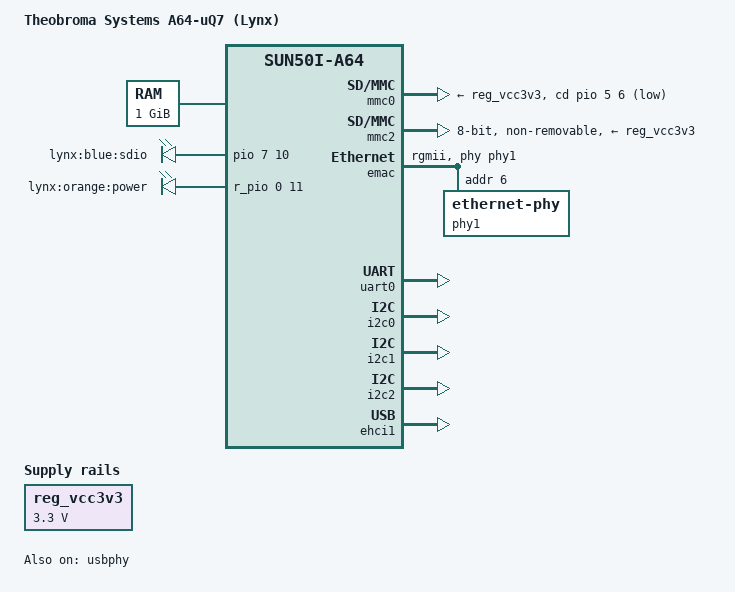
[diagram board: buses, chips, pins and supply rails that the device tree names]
/*
 * Copyright (c) 2016 ARM Ltd.
 * Copyright (c) 2016-2017, Theobroma Systems Design und Consulting GmbH
 *
 * This file is dual-licensed: you can use it either under the terms
 * of the GPL or the X11 license, at your option. Note that this dual
 * licensing only applies to this file, and not this project as a
 * whole.
 *
 *  a) This library is free software; you can redistribute it and/or
 *     modify it under the terms of the GNU General Public License as
 *     published by the Free Software Foundation; either version 2 of the
 *     License, or (at your option) any later version.
 *
 *     This library is distributed in the hope that it will be useful,
 *     but WITHOUT ANY WARRANTY; without even the implied warranty of
 *     MERCHANTABILITY or FITNESS FOR A PARTICULAR PURPOSE.  See the
 *     GNU General Public License for more details.
 *
 * Or, alternatively,
 *
 *  b) Permission is hereby granted, free of charge, to any person
 *     obtaining a copy of this software and associated documentation
 *     files (the "Software"), to deal in the Software without
 *     restriction, including without limitation the rights to use,
 *     copy, modify, merge, publish, distribute, sublicense, and/or
 *     sell copies of the Software, and to permit persons to whom the
 *     Software is furnished to do so, subject to the following
 *     conditions:
 *
 *     The above copyright notice and this permission notice shall be
 *     included in all copies or substantial portions of the Software.
 *
 *     THE SOFTWARE IS PROVIDED "AS IS", WITHOUT WARRANTY OF ANY KIND,
 *     EXPRESS OR IMPLIED, INCLUDING BUT NOT LIMITED TO THE WARRANTIES
 *     OF MERCHANTABILITY, FITNESS FOR A PARTICULAR PURPOSE AND
 *     NONINFRINGEMENT. IN NO EVENT SHALL THE AUTHORS OR COPYRIGHT
 *     HOLDERS BE LIABLE FOR ANY CLAIM, DAMAGES OR OTHER LIABILITY,
 *     WHETHER IN AN ACTION OF CONTRACT, TORT OR OTHERWISE, ARISING
 *     FROM, OUT OF OR IN CONNECTION WITH THE SOFTWARE OR THE USE OR
 *     OTHER DEALINGS IN THE SOFTWARE.
 */

/dts-v1/;

#include "sun50i-a64.dtsi"
#include <dt-bindings/gpio/gpio.h>

/ {
	model = "Theobroma Systems A64-uQ7 (Lynx)";
	compatible = "tsd,lynx", "allwinner,sun50i-a64";

	aliases {
		serial0 = &uart0;
		ethernet0 = &emac;
	};

	soc {
		reg_vcc3v3: vcc3v3 {
			compatible = "regulator-fixed";
			regulator-name = "vcc3v3";
			regulator-min-microvolt = <3300000>;
			regulator-max-microvolt = <3300000>;
		};
	};

	chosen {
		stdout-path = "serial0:115200n8";
	};

	/* There is a model with 2GB of DRAM, but U-Boot fixes this for us. */
	memory {
		reg = <0x40000000 0x40000000>;
	};

	config {
	       u-boot,boot-led = "lynx:orange:power";
	};

	leds {
		compatible = "gpio-leds";
		pinctrl-names = "default";
		pinctrl-0 = <&led_pins_lynx>;

		sdio {
			label = "lynx:blue:sdio";
			gpios = <&pio 7 10 GPIO_ACTIVE_HIGH>;
		};

		power {
			label = "lynx:orange:power";
			gpios = <&r_pio 0 11 GPIO_ACTIVE_HIGH>;
		};
	};
};

&pio {
	led_pins_lynx: led_pins@0 {
		allwinner,pins = "PH10", "PL11";
		allwinner,function = "gpio_out";
		allwinner,drive = <SUN4I_PINCTRL_20_MA>;
		allwinner,pull = <SUN4I_PINCTRL_NO_PULL>;
	};
};

&mmc0 {
	pinctrl-names = "default";
	pinctrl-0 = <&mmc0_pins>, <&mmc0_default_cd_pin>;
	vmmc-supply = <&reg_vcc3v3>;
	cd-gpios = <&pio 5 6 0>;
	cd-inverted;
	status = "okay";
};

&mmc2 {
	pinctrl-names = "default";
	pinctrl-0 = <&mmc2_8bit_pins>;
	vmmc-supply = <&reg_vcc3v3>;
	bus-width = <8>;
	non-removable;
	status = "okay";
};

&emac {
	pinctrl-names = "default";
	pinctrl-0 = <&rgmii_pins>;
	phy-mode = "rgmii";
	phy = <&phy1>;
	status = "okay";

	allwinner,reset-gpio = <&pio 3 24 GPIO_ACTIVE_LOW>;
	allwinner,reset-active-low;
	allwinner,reset-delays-us = <0 10000 30000>;

        rxc-skew-ps = <1800>;
	txc-skew-ps = <1800>;

	phy1: ethernet-phy@1 {
		reg = <6>;
	};
};

/*
&usb_otg {
	dr_mode = "gadget";
	status = "okay";
};
*/

&uart0 {
	pinctrl-names = "default";
	pinctrl-0 = <&uart0_pins_a>;
	status = "okay";
};

&i2c0 {
	pinctrl-names = "default";
	pinctrl-0 = <&i2c0_pins>;
	status = "okay";
};

&i2c1 {
	pinctrl-names = "default";
	pinctrl-0 = <&i2c1_pins>;
	status = "okay";
};

&i2c2 {
	pinctrl-names = "default";
	pinctrl-0 = <&i2c2_pins>;
	status = "okay";
};

&usbphy {
       status = "okay";
};

&ohci1 {
       /* EHCI1 connects to on-module USB 2.0 hubs (which take care
        * of transaction translation for us), so we don't need the OHCI
        * functionality.
	*/

       status = "disabled";
};

&ehci1 {
       enable-gpios = <&pio 6 9 GPIO_ACTIVE_HIGH>, <&pio 4 4 GPIO_ACTIVE_HIGH>;
       status = "okay";
};
